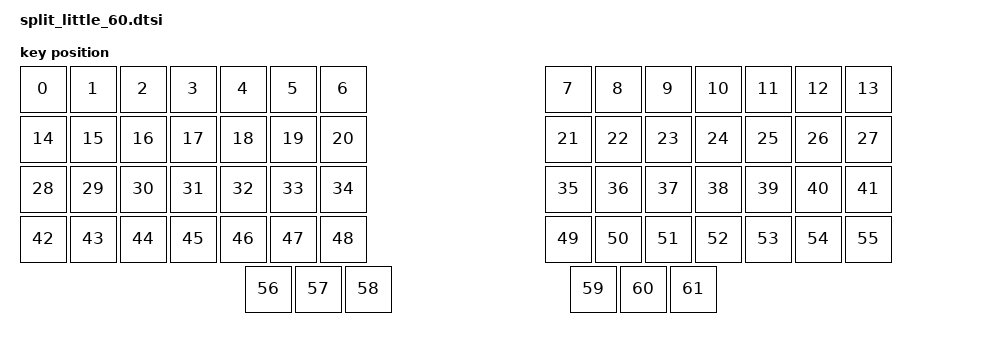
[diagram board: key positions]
#include <physical_layouts.dtsi>

/ {
    oxomoxo_split_little_60_layout: oxomoxo_split_little_60_layout {
        compatible = "zmk,physical-layout";
        display-name = "Default";

        keys  //                     w   h    x    y     rot    rx    ry
// Row 1
// Left
// Left
            = <&key_physical_attrs 100 100    0   50       0     0     0>
            = <&key_physical_attrs 100 100  100   50       0     0     0>
            , <&key_physical_attrs 100 100  200   50       0     0     0>
            , <&key_physical_attrs 100 100  300   50       0     0     0>
            , <&key_physical_attrs 100 100  400   50       0     0     0>
            , <&key_physical_attrs 100 100  500   50       0     0     0>
            , <&key_physical_attrs 100 100  600   50       0     0     0>
// Right
            , <&key_physical_attrs 100 100 1050   50       0     0     0>
            , <&key_physical_attrs 100 100 1150   50       0     0     0>
            , <&key_physical_attrs 100 100 1250   50       0     0     0>
            , <&key_physical_attrs 100 100 1350   50       0     0     0>
            , <&key_physical_attrs 100 100 1450   50       0     0     0>
            , <&key_physical_attrs 100 100 1550   50       0     0     0>
            , <&key_physical_attrs 100 100 1650   50       0     0     0>
// Row 2
// Left
            , <&key_physical_attrs 100 100    0  150       0     0     0>
            , <&key_physical_attrs 100 100  100  150       0     0     0>
            , <&key_physical_attrs 100 100  200  150       0     0     0>
            , <&key_physical_attrs 100 100  300  150       0     0     0>
            , <&key_physical_attrs 100 100  400  150       0     0     0>
            , <&key_physical_attrs 100 100  500  150       0     0     0>
            , <&key_physical_attrs 100 100  600  150       0     0     0>
// Right
            , <&key_physical_attrs 100 100 1050  150       0     0     0>
            , <&key_physical_attrs 100 100 1150  150       0     0     0>
            , <&key_physical_attrs 100 100 1250  150       0     0     0>
            , <&key_physical_attrs 100 100 1350  150       0     0     0>
            , <&key_physical_attrs 100 100 1450  150       0     0     0>
            , <&key_physical_attrs 100 100 1550  150       0     0     0>
            , <&key_physical_attrs 100 100 1650  150       0     0     0>
// Row 3
// Left
            , <&key_physical_attrs 100 100    0  250       0     0     0>
            , <&key_physical_attrs 100 100  100  250       0     0     0>
            , <&key_physical_attrs 100 100  200  250       0     0     0>
            , <&key_physical_attrs 100 100  300  250       0     0     0>
            , <&key_physical_attrs 100 100  400  250       0     0     0>
            , <&key_physical_attrs 100 100  500  250       0     0     0>
            , <&key_physical_attrs 100 100  600  250       0     0     0>
// Right
            , <&key_physical_attrs 100 100 1050  250       0     0     0>
            , <&key_physical_attrs 100 100 1150  250       0     0     0>
            , <&key_physical_attrs 100 100 1250  250       0     0     0>
            , <&key_physical_attrs 100 100 1350  250       0     0     0>
            , <&key_physical_attrs 100 100 1450  250       0     0     0>
            , <&key_physical_attrs 100 100 1550  250       0     0     0>
            , <&key_physical_attrs 100 100 1650  250       0     0     0>
// Row 4
// Left
            , <&key_physical_attrs 100 100    0  350       0     0     0>
            , <&key_physical_attrs 100 100  100  350       0     0     0>
            , <&key_physical_attrs 100 100  200  350       0     0     0>
            , <&key_physical_attrs 100 100  300  350       0     0     0>
            , <&key_physical_attrs 100 100  400  350       0     0     0>
            , <&key_physical_attrs 100 100  500  350       0     0     0>
            , <&key_physical_attrs 100 100  600  350       0     0     0>
// Right
            , <&key_physical_attrs 100 100 1050  350       0     0     0>
            , <&key_physical_attrs 100 100 1150  350       0     0     0>
            , <&key_physical_attrs 100 100 1250  350       0     0     0>
            , <&key_physical_attrs 100 100 1350  350       0     0     0>
            , <&key_physical_attrs 100 100 1450  350       0     0     0>
            , <&key_physical_attrs 100 100 1550  350       0     0     0>
            , <&key_physical_attrs 100 100 1650  350       0     0     0>
// Thumb Row
            , <&key_physical_attrs 100 100  450  450       0     0     0>
            , <&key_physical_attrs 100 100  550  450       0     0     0>
            , <&key_physical_attrs 100 100  650  450       0     0     0>
            , <&key_physical_attrs 100 100 1100  450       0     0     0>
            , <&key_physical_attrs 100 100 1200  450       0     0     0>
            , <&key_physical_attrs 100 100 1300  450       0     0     0>
            ;
    };
};
